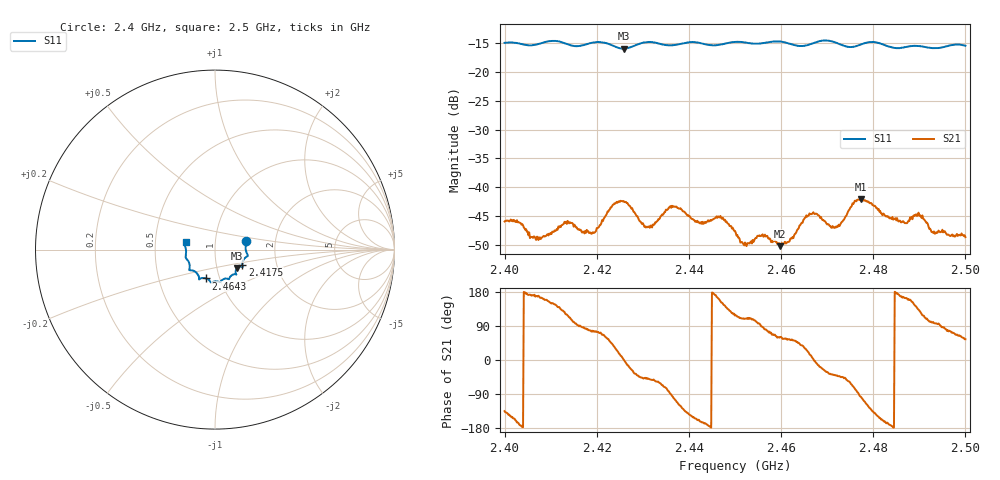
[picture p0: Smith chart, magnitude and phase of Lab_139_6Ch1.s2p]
# Hz S RI R 50
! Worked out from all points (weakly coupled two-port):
!   601 points, 2.4 GHz to 2.5 GHz, reference 50 ohm
!   highest |S21| = -42.09 dB at 2.4773 GHz (marker M1); lowest = -50.3 dB at 2.4598 GHz (marker M2)
!   lowest |S11| = -15.9 dB at 2.4258 GHz (marker M3), VSWR 1.38, Z = 62.3 - j13.2 ohm
!   |S11| at or under -10 dB: start of sweep to end of sweep
!   S12 and S22 are empty: the file has one direction only
!   S11 on the Smith chart (normalised r, x): 2.4 GHz: 1.41, +0.14; 2.4175 GHz: 1.34, -0.23; 2.4643 GHz: 0.86, -0.29; 2.5 GHz: 0.72, +0.06
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2.4e9  0.1729 0.0487  -0.00355 -0.00355  0 0  0 0
2.407333e9  0.1748 -0.014  -0.0034 0.00063  0 0  0 0
2.413333e9  0.1714 -0.0429  -0.00252 0.0043  0 0  0 0
2.416667e9  0.1527 -0.0742  0.000155 0.00411  0 0  0 0
2.4175e9  0.1517 -0.0836  0.000506 0.00413  0 0  0 0
2.425833e9  0.1217 -0.1036  0.00755 0.000147  0 0  0 0
2.430667e9  0.1185 -0.1382  0.00291 -0.00336  0 0  0 0
2.433333e9  0.1128 -0.1372  0.00284 -0.0044  0 0  0 0
2.436833e9  0.0883 -0.1472  -0.00144 -0.00659  0 0  0 0
2.446833e9  0.0416 -0.1682  -0.00508 0.00236  0 0  0 0
2.45e9  0.0288 -0.1808  -0.0019 0.00368  0 0  0 0
2.452e9  0.0227 -0.1798  -0.000988 0.00295  0 0  0 0
2.4555e9  -0.00256 -0.1773  -0.000185 0.00374  0 0  0 0
2.459833e9  -0.0239 -0.183  0.00149 0.00267  0 0  0 0
2.464333e9  -0.0498 -0.1608  0.00372 0.00302  0 0  0 0
2.466667e9  -0.0759 -0.1594  0.00575 0.000796  0 0  0 0
2.471833e9  -0.0884 -0.1578  0.00347 -0.00291  0 0  0 0
2.477333e9  -0.1296 -0.1158  -0.000991 -0.0078  0 0  0 0
2.483333e9  -0.1408 -0.0899  -0.00543 -0.00102  0 0  0 0
2.489833e9  -0.1635 -0.0415  -0.00408 0.00438  0 0  0 0
2.493e9  -0.161 -0.0141  -0.000722 0.00394  0 0  0 0
2.5e9  -0.164 0.0429  0.00211 0.00299  0 0  0 0
